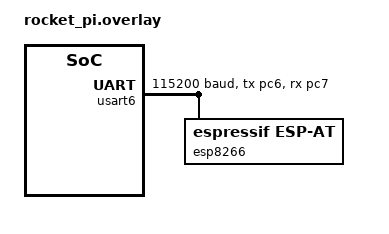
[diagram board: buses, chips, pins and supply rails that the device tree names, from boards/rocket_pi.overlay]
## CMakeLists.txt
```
cmake_minimum_required(VERSION 3.20.0)

find_package(Zephyr REQUIRED HINTS $ENV{ZEPHYR_BASE})
project(esp8266_sample)

if("$ENV{DEBUG}" STREQUAL "1")
    add_compile_definitions(DEBUG=1)
endif()

file(GLOB APP_SOURCES_C src/*.c)
set(APP_SOURCES "${APP_SOURCES_C}")
message("-- APP_SOURCES=${APP_SOURCES}")

target_include_directories(app PRIVATE src)
target_sources(app PRIVATE "${APP_SOURCES}")
target_link_libraries(app PRIVATE zephyr zephyr_interface)
```

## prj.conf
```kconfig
CONFIG_CPP_EXCEPTIONS=y
CONFIG_GLIBCXX_LIBCPP=y
CONFIG_CPP=y
CONFIG_NEWLIB_LIBC=y

CONFIG_WIFI=y
CONFIG_INIT_STACKS=y
CONFIG_NETWORKING=y
CONFIG_NET_NATIVE=y
CONFIG_NET_IPV4=y
CONFIG_NET_IPV6=n
CONFIG_NET_ARP=y
CONFIG_NET_CONFIG_SETTINGS=y
CONFIG_NET_CONFIG_AUTO_INIT=n
CONFIG_NET_CONFIG_INIT_TIMEOUT=30
CONFIG_NET_CONFIG_NEED_IPV4=y
CONFIG_NET_DHCPV4=y

CONFIG_NET_TX_STACK_SIZE=8000
CONFIG_NET_RX_STACK_SIZE=8000
CONFIG_NET_PKT_RX_COUNT=16
CONFIG_NET_PKT_TX_COUNT=16
CONFIG_NET_BUF_RX_COUNT=16
CONFIG_NET_BUF_TX_COUNT=16
CONFIG_NET_MAX_CONTEXTS=10
CONFIG_NET_MGMT_EVENT_STACK_SIZE=4096

CONFIG_NET_CONTEXT_NET_PKT_POOL=y

CONFIG_MAIN_STACK_SIZE=8000
CONFIG_SYSTEM_WORKQUEUE_STACK_SIZE=8000
CONFIG_WIFI_ESP_AT_RX_STACK_SIZE=8000
CONFIG_WIFI_ESP_AT_WORKQ_STACK_SIZE=8000

CONFIG_LOG=y
CONFIG_LOG_PRINTK=y
CONFIG_LOG_MODE_IMMEDIATE=y
CONFIG_NET_LOG=y
CONFIG_NET_IF_LOG_LEVEL_ERR=y

CONFIG_THREAD_NAME=y
CONFIG_THREAD_STACK_INFO=y

CONFIG_SERIAL=y
CONFIG_UART_CONSOLE=y

CONFIG_ENTROPY_GENERATOR=y
CONFIG_TEST_RANDOM_GENERATOR=y
# CONFIG_SYS_RANDOM=y
```

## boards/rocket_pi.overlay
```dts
/ {
	aliases {
		wifi0 = &esp8266;
	};
};

&usart6 {
	status = "okay";
	current-speed = <115200>;
	pinctrl-0 = <&usart6_tx_pc6 &usart6_rx_pc7>;
	pinctrl-names = "default";

	esp8266: wifi {
		compatible = "espressif,esp-at";
		status = "okay";
	};
};
```

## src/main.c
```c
#include <errno.h>
#include <stdlib.h>

#include <zephyr/device.h>
#include <zephyr/devicetree.h>
#include <zephyr/drivers/flash.h>
#include <zephyr/kernel.h>
#include <zephyr/logging/log.h>
#include <zephyr/net/net_config.h>
#include <zephyr/net/net_event.h>
#include <zephyr/net/net_if.h>
#include <zephyr/net/net_ip.h>
#include <zephyr/net/wifi_mgmt.h>

#include "config.h"

static struct net_mgmt_event_callback wifi_cb;
static struct net_mgmt_event_callback ipv4_cb;

static K_SEM_DEFINE(wifi_connected, 0, 1);
static K_SEM_DEFINE(ipv4_address_obtained, 0, 1);

static void handle_wifi_connect_result(struct net_mgmt_event_callback *cb)
{
    const struct wifi_status *status = (const struct wifi_status *)cb->info;

    if (status->status)
    {
        printk("Connection request failed status (%i)\n", status->status);
    }
    else
    {
        printk("Connected\n");
        k_sem_give(&wifi_connected);
    }
}

static void handle_wifi_disconnect_result(struct net_mgmt_event_callback *cb)
{
    const struct wifi_status *status = (const struct wifi_status *)cb->info;

    if (status->status)
    {
        printk("Disconnection request (%d)\n", status->status);
    }
    else
    {
        printk("Disconnected\n");
        k_sem_take(&wifi_connected, K_NO_WAIT);
    }
}

static void handle_ipv4_result(struct net_if *iface)
{
    ARG_UNUSED(iface);
    k_sem_give(&ipv4_address_obtained);
    printk("IP Address obtained...\n");
}

static void wifi_mgmt_event_handler(struct net_mgmt_event_callback *cb, uint64_t mgmt_event, struct net_if *iface)
{
    switch (mgmt_event)
    {
    case NET_EVENT_WIFI_CONNECT_RESULT:
        handle_wifi_connect_result(cb);
        break;

    case NET_EVENT_WIFI_DISCONNECT_RESULT:
        handle_wifi_disconnect_result(cb);
        break;

    case NET_EVENT_IPV4_ADDR_ADD:
        handle_ipv4_result(iface);
        break;

    default:
        break;
    }
}

void wifi_init(void)
{
    printk("WiFi initializing...\n");
    net_mgmt_init_event_callback(&wifi_cb, wifi_mgmt_event_handler,
                                 NET_EVENT_WIFI_CONNECT_RESULT | NET_EVENT_WIFI_DISCONNECT_RESULT);
    net_mgmt_add_event_callback(&wifi_cb);

    net_mgmt_init_event_callback(&ipv4_cb, wifi_mgmt_event_handler, NET_EVENT_IPV4_ADDR_ADD);
    net_mgmt_add_event_callback(&ipv4_cb);
    printk("WiFi initialized...\n");
}

int wifi_connect(const char *ssid, const char *psk)
{
    struct net_if *iface = net_if_get_default();
    struct wifi_connect_req_params wifi_params = {0};

    wifi_params.ssid = (uint8_t *)ssid;
    wifi_params.psk = (uint8_t *)psk;
    wifi_params.ssid_length = strlen(ssid);
    wifi_params.psk_length = strlen(psk);
    wifi_params.channel = 0;
    wifi_params.security = WIFI_SECURITY_TYPE_PSK;
    wifi_params.band = WIFI_FREQ_BAND_2_4_GHZ;
    wifi_params.mfp = WIFI_MFP_OPTIONAL;
    wifi_params.timeout = 20;

    k_sem_reset(&wifi_connected);
    k_sem_reset(&ipv4_address_obtained);

    printk("Connecting to SSID: %s\n", wifi_params.ssid);
    if (net_mgmt(NET_REQUEST_WIFI_CONNECT, iface, &wifi_params, sizeof(struct wifi_connect_req_params)))
    {
        printk("WiFi Connection Request Failed\n");
        return -EIO;
    }

    k_sem_take(&wifi_connected, K_FOREVER);
    printk("WiFi link ready\n");

    return 0;
}

int wifi_disconnect(void)
{
    struct net_if *iface = net_if_get_default();

    if (net_mgmt(NET_REQUEST_WIFI_DISCONNECT, iface, NULL, 0))
    {
        printk("WiFi Disconnection Request Failed\n");
        return -EIO;
    }

    return 0;
}

int wifi_wait_for_ipv4(k_timeout_t timeout)
{
    if (k_sem_take(&ipv4_address_obtained, timeout))
    {
        printk("Waiting for IPv4 address timed out\n");
        return -ETIMEDOUT;
    }

    return 0;
}

static void log_ipv4_details(void)
{
    struct net_if *iface = net_if_get_default();

    if (iface == NULL)
    {
        printk("No default network interface\n");
        return;
    }

    struct in_addr *addr = net_if_ipv4_get_global_addr(iface, NET_ADDR_PREFERRED);
    if (addr == NULL)
    {
        printk("IPv4 address not available yet\n");
        return;
    }

    char hr_addr[NET_IPV4_ADDR_LEN];
    net_addr_ntop(AF_INET, addr, hr_addr, sizeof(hr_addr));
    printk("IPv4 address acquired: %s\n", hr_addr);
}

int run_main(void)
{
    int ret;

    wifi_init();
    wifi_connect(SSID, PSK);

    ret = net_config_init_app(NULL, "Initializing network");
    if (ret < 0)
    {
        printk("Network configuration failed (%d)\n", ret);
        return ret;
    }

    ret = wifi_wait_for_ipv4(K_FOREVER);
    if (ret < 0)
    {
        return ret;
    }

    log_ipv4_details();

    printk("Network ready, sleeping forever...");
    k_sleep(K_FOREVER);

    return 0;
}

int main(void)
{
    return run_main();
}
```

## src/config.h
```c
#pragma once

// #include <zephyr/kernel.h>

////////////////////////////////////////////////////////////////////////////////
/// WIFI CONFIG
#define SSID "ZTE-45c476"
#define PSK "88888888"
#define BACKEND_IP "10.128.162.229"
#define BACKEND_PORT 8081
#define HTTP_SERVER_PORT 80

int run_main(void);
void wifi_init(void);
int wifi_connect(const char *ssid, const char *psk);
int wifi_disconnect(void);
int wifi_wait_for_ipv4(k_timeout_t timeout);
```
